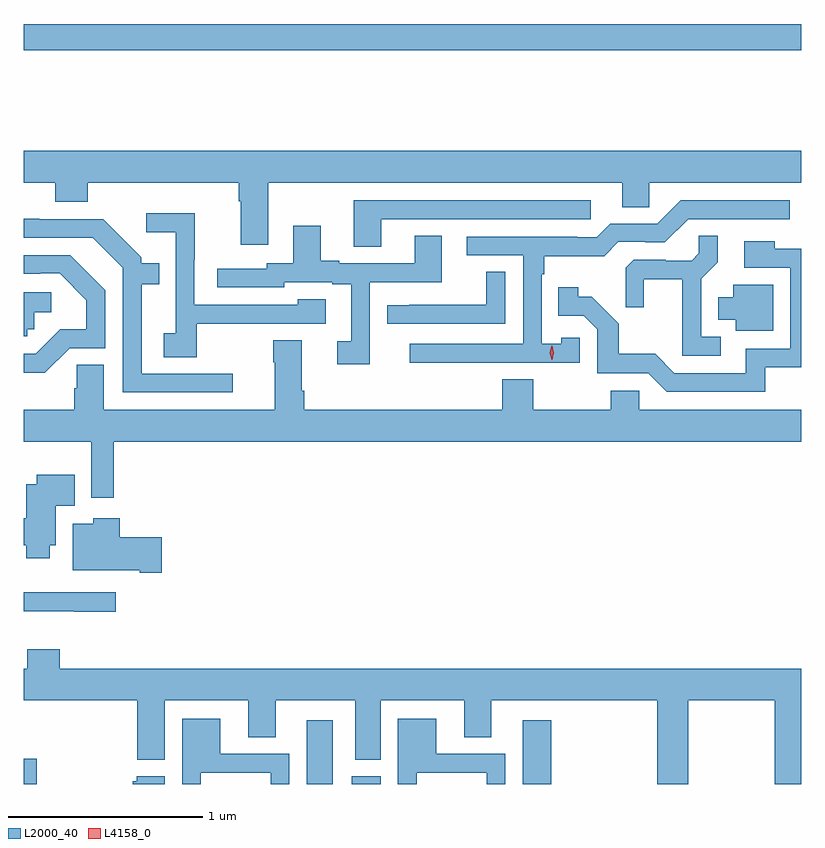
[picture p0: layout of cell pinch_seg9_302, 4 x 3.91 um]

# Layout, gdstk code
import gdstk
lib = gdstk.Library(unit=1e-6, precision=1e-09)
def R(c, l, rs):  # rectangles x0, y0, x1, y1
    for r in rs: c.add(gdstk.rectangle(r[:2], r[2:], *l))
def P(c, l, *ps):  # polygons
    for p in ps: c.add(gdstk.Polygon(p, *l))
L2000_40 = (2000, 40)
L4158_0 = (4158, 0)

pinch_seg9_302 = lib.new_cell('pinch_seg9_302')
R(pinch_seg9_302, L2000_40, [(412.09,1166.686,412.157,1166.815), (413.546,1166.686,413.68,1167.013), (413.777,1166.686,413.926,1166.727), (414.656,1166.686,414.803,1167.013), (412.09,1170.46,416.09,1170.596)])
P(pinch_seg9_302, L2000_40, [(413.347,1169.78),(415.169,1169.78),(415.169,1169.653),(415.308,1169.653),(415.308,1169.78),(416.09,1169.78),(416.09,1169.944),(412.09,1169.944),(412.09,1169.78),(412.253,1169.78),(412.253,1169.681),(412.418,1169.681),(412.418,1169.78),(413.195,1169.78),(413.195,1169.684),(413.207,1169.684),(413.207,1169.46),(413.347,1169.46)],
  [(413.929,1169.592),(415.006,1169.592),(415.006,1169.688),(413.789,1169.688),(413.789,1169.449),(413.929,1169.449)],
  [(414.467,1168.854),(414.951,1168.854),(414.951,1168.983),(414.855,1168.983),(414.855,1168.951),(414.756,1168.951),(414.756,1169.309),(414.769,1169.309),(414.769,1169.402),(415.076,1169.402),(415.149,1169.475),(415.288,1169.475),(415.288,1169.472),(415.389,1169.472),(415.509,1169.592),(416.032,1169.592),(416.032,1169.688),(415.47,1169.688),(415.35,1169.568),(415.107,1169.568),(415.038,1169.499),(414.938,1169.499),(414.938,1169.502),(414.369,1169.502),(414.369,1169.406),(414.66,1169.406),(414.66,1168.95),(414.075,1168.95),(414.075,1168.852),(414.467,1168.852)],
  [(412.981,1169.053),(413.285,1169.053),(413.285,1169.055),(413.644,1169.055),(413.644,1169.179),(413.499,1169.179),(413.499,1169.151),(412.968,1169.151),(412.968,1169.384),(412.971,1169.384),(412.971,1169.623),(412.719,1169.623),(412.719,1169.525),(412.872,1169.525),(412.872,1169.004),(412.809,1169.004),(412.809,1168.882),(412.981,1168.882)],
  [(413.164,1168.797),(412.696,1168.797),(412.696,1169.256),(412.787,1169.256),(412.787,1169.365),(412.695,1169.365),(412.695,1169.397),(412.5,1169.592),(412.169,1169.592),(412.169,1169.594),(412.09,1169.594),(412.09,1169.496),(412.446,1169.496),(412.599,1169.343),(412.599,1168.701),(413.164,1168.701)],
  [(413.871,1169.268),(414.241,1169.268),(414.241,1169.507),(414.101,1169.507),(414.101,1169.364),(413.713,1169.364),(413.713,1169.377),(413.617,1169.377),(413.617,1169.557),(413.477,1169.557),(413.477,1169.364),(413.34,1169.364),(413.34,1169.337),(413.085,1169.337),(413.085,1169.241),(413.43,1169.241),(413.43,1169.268),(413.678,1169.268),(413.678,1169.256),(413.774,1169.256),(413.774,1168.965),(413.703,1168.965),(413.703,1168.845),(413.871,1168.845)],
  [(415.675,1168.986),(415.575,1168.986),(415.575,1169.285),(415.661,1169.371),(415.661,1169.507),(415.563,1169.507),(415.563,1169.416),(415.526,1169.379),(415.392,1169.379),(415.392,1169.382),(415.227,1169.382),(415.186,1169.341),(415.186,1169.139),(415.28,1169.139),(415.28,1169.282),(415.478,1169.282),(415.478,1168.89),(415.675,1168.89)],
  [(415.904,1168.83),(416.09,1168.83),(416.09,1169.439),(415.953,1169.439),(415.953,1169.479),(415.797,1169.479),(415.797,1169.343),(416.034,1169.343),(416.034,1168.926),(415.805,1168.926),(415.805,1168.8),(415.437,1168.8),(415.339,1168.899),(415.15,1168.899),(415.15,1169.054),(415.012,1169.192),(414.942,1169.192),(414.942,1169.242),(414.841,1169.242),(414.841,1169.094),(414.972,1169.094),(415.041,1169.025),(415.041,1168.8),(415.302,1168.8),(415.398,1168.704),(415.904,1168.704)],
  [(412.326,1168.929),(412.509,1168.929),(412.509,1169.227),(412.33,1169.406),(412.09,1169.406),(412.09,1169.31),(412.175,1169.31),(412.175,1169.313),(412.275,1169.313),(412.412,1169.176),(412.412,1169.026),(412.279,1169.026),(412.152,1168.899),(412.09,1168.899),(412.09,1168.802),(412.198,1168.802)],
  [(414.567,1169.321),(414.469,1169.321),(414.469,1169.151),(414.073,1169.151),(414.073,1169.15),(413.961,1169.15),(413.961,1169.055),(414.567,1169.055)],
  [(415.945,1169.254),(415.739,1169.254),(415.739,1169.191),(415.664,1169.191),(415.664,1169.075),(415.754,1169.075),(415.754,1169.018),(415.945,1169.018)],
  [(412.107,1169.025),(412.143,1169.025),(412.143,1169.114),(412.231,1169.114),(412.231,1169.217),(412.09,1169.217),(412.09,1168.989),(412.107,1168.989)],
  [(412.553,1168.448),(416.09,1168.448),(416.09,1168.612),(415.257,1168.612),(415.257,1168.71),(415.111,1168.71),(415.111,1168.612),(414.711,1168.612),(414.711,1168.769),(414.551,1168.769),(414.551,1168.612),(413.534,1168.612),(413.534,1168.708),(413.521,1168.708),(413.521,1168.969),(413.374,1168.969),(413.374,1168.856),(413.381,1168.856),(413.381,1168.612),(412.501,1168.612),(412.501,1168.844),(412.363,1168.844),(412.363,1168.722),(412.349,1168.722),(412.349,1168.612),(412.09,1168.612),(412.09,1168.448),(412.437,1168.448),(412.437,1168.158),(412.553,1168.158)],
  [(412.225,1167.914),(412.255,1167.914),(412.255,1168.118),(412.352,1168.118),(412.352,1168.276),(412.157,1168.276),(412.157,1168.228),(412.103,1168.228),(412.103,1168.054),(412.09,1168.054),(412.09,1167.914),(412.103,1167.914),(412.103,1167.848),(412.225,1167.848)],
  [(412.801,1167.956),(412.583,1167.956),(412.583,1168.054),(412.448,1168.054),(412.448,1168.024),(412.343,1168.024),(412.343,1167.785),(412.688,1167.785),(412.688,1167.773),(412.801,1167.773)],
  [(412.564,1167.672),(412.247,1167.672),(412.247,1167.673),(412.09,1167.673),(412.09,1167.575),(412.351,1167.575),(412.351,1167.571),(412.564,1167.571)],
  [(415.509,1167.116),(415.954,1167.116),(415.954,1166.686),(416.09,1166.686),(416.09,1167.28),(412.274,1167.28),(412.274,1167.379),(412.109,1167.379),(412.109,1167.28),(412.09,1167.28),(412.09,1167.116),(412.673,1167.116),(412.673,1166.81),(412.816,1166.81),(412.816,1167.116),(413.246,1167.116),(413.246,1166.926),(413.386,1166.926),(413.386,1167.116),(413.795,1167.116),(413.795,1166.812),(413.926,1166.812),(413.926,1167.116),(414.356,1167.116),(414.356,1166.926),(414.496,1166.926),(414.496,1167.116),(415.349,1167.116),(415.349,1166.686),(415.509,1166.686)],
  [(414.111,1166.745),(414.471,1166.745),(414.471,1166.686),(414.567,1166.686),(414.567,1166.841),(414.211,1166.841),(414.211,1167.022),(414.015,1167.022),(414.015,1166.686),(414.111,1166.686)],
  [(413.001,1166.745),(413.361,1166.745),(413.361,1166.686),(413.457,1166.686),(413.457,1166.841),(413.101,1166.841),(413.101,1167.022),(412.905,1167.022),(412.905,1166.686),(413.001,1166.686)],
  [(412.816,1166.725),(412.671,1166.725),(412.671,1166.7),(412.652,1166.7),(412.652,1166.686),(412.816,1166.686)])
P(pinch_seg9_302, L4158_0, [(414.807,1168.869),(414.807,1168.869),(414.797,1168.905),(414.807,1168.941),(414.807,1168.941),(414.808,1168.941),(414.817,1168.905),(414.808,1168.869)])

lib.write_gds('pinch_seg9_302.gds')
